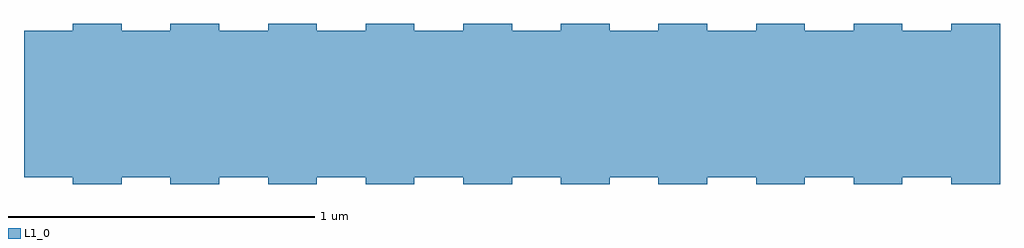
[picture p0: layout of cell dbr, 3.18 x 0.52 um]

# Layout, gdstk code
import gdstk
lib = gdstk.Library(unit=1e-6, precision=1e-09)
def R(c, l, rs):  # rectangles x0, y0, x1, y1
    for r in rs: c.add(gdstk.rectangle(r[:2], r[2:], *l))
L1_0 = (1, 0)

straight_length159n_widt = lib.new_cell('straight_length159n_width476n')
R(straight_length159n_widt, L1_0, [(0,-0.238,0.159,0.238)])

c_straight_length159n_widt = lib.new_cell('straight_length159n_width524n')
R(c_straight_length159n_widt, L1_0, [(0,-0.262,0.159,0.262)])

dbr_cell_l1159n_l2159n__ = lib.new_cell('dbr_cell_l1159n_l2159n__5183cf08')
dbr_cell_l1159n_l2159n__.add(gdstk.Reference(straight_length159n_widt, (0,0)))
dbr_cell_l1159n_l2159n__.add(gdstk.Reference(c_straight_length159n_widt, (0.159,0)))

dbr = lib.new_cell('dbr')
r = gdstk.Reference(dbr_cell_l1159n_l2159n__, (0,0)); r.repetition = gdstk.Repetition(10, 1, v1=(0.318,0), v2=(0,100)); dbr.add(r)

lib.write_gds('dbr.gds')
